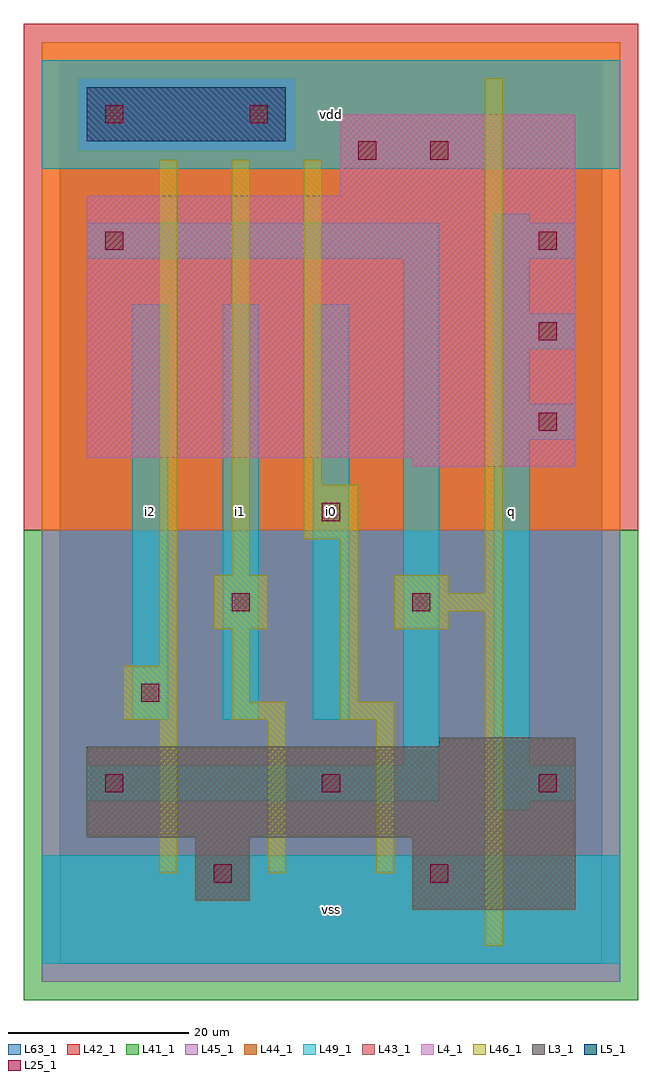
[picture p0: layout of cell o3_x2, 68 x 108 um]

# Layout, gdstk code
import gdstk
lib = gdstk.Library(unit=1e-6, precision=1e-09)
def R(c, l, rs):  # rectangles x0, y0, x1, y1
    for r in rs: c.add(gdstk.rectangle(r[:2], r[2:], *l))
def A(c, l, x, y, w, h, nx, ny, dx, dy):  # array of equal rectangles
    R(c, l, [(x+i*dx, y+j*dy, x+i*dx+w, y+j*dy+h) for i in range(nx) for j in range(ny)])
L3_1 = (3, 1)
L4_1 = (4, 1)
L5_1 = (5, 1)
L25_1 = (25, 1)
L41_1 = (41, 1)
L42_1 = (42, 1)
L43_1 = (43, 1)
L44_1 = (44, 1)
L45_1 = (45, 1)
L46_1 = (46, 1)
L49_1 = (49, 1)
L63_1 = (63, 1)

o3_x2 = lib.new_cell('o3_x2')
R(o3_x2, L3_1, [(39,6,57,14), (15,7,21,14), (3,14,57,24), (42,24,57,25)])
R(o3_x2, L4_1, [(39,55,57,56), (3,56,57,85), (31,85,57,94)])
R(o3_x2, L5_1, [(3,91,25,97)])
A(o3_x2, L25_1, 5, 19, 2, 2, 3, 1, 24, 0)
A(o3_x2, L25_1, 53, 59, 2, 2, 1, 3, 0, 10)
R(o3_x2, L25_1, [(17,9,19,11), (41,9,43,11), (9,29,11,31), (19,39,21,41), (39,39,41,41), (29,49,31,51), (5,79,7,81), (33,89,35,91), (41,89,43,91), (5,93,7,95), (21,93,23,95)])
R(o3_x2, L41_1, [(-4,-4,64,48)])
R(o3_x2, L42_1, [(-4,48,64,104)])
R(o3_x2, L43_1, [(39,6,57,14), (15,7,21,14), (3,14,57,24), (42,24,57,25), (39,55,57,56), (3,56,57,85), (31,85,57,94), (3,91,25,97)])
R(o3_x2, L44_1, [(-2,48,62,90), (-2,90,2,98), (26,90,62,98), (-2,98,62,102)])
R(o3_x2, L45_1, [(-2,-2,62,48), (2,90,26,98)])
A(o3_x2, L46_1, 11, 10, 2, 17, 3, 1, 12, 0)
R(o3_x2, L46_1, [(47,2,49,39), (7,27,13,33), (19,27,25,29), (31,27,37,29), (19,29,21,37), (31,29,33,47), (11,33,13,89), (17,37,23,43), (37,37,43,39), (37,39,49,41), (37,41,43,43), (47,41,49,98), (19,43,21,89), (27,47,33,53), (27,53,29,89)])
A(o3_x2, L49_1, 8, 27, 4, 46, 3, 1, 10, 0)
A(o3_x2, L49_1, 48, 58, 9, 4, 1, 3, 0, 10)
R(o3_x2, L49_1, [(-2,0,62,12), (48,17,52,18), (3,18,42,22), (48,18,57,22), (38,22,42,78), (48,22,52,58), (48,62,52,68), (48,72,52,78), (3,78,42,82), (48,82,52,83), (-2,88,62,100)])
R(o3_x2, L63_1, [(0,0,60,100)])
o3_x2.add(gdstk.Label('i2', (10,50), layer=49, texttype=1))
o3_x2.add(gdstk.Label('i1', (20,50), layer=49, texttype=1))
o3_x2.add(gdstk.Label('vss', (30,6), layer=49, texttype=1))
o3_x2.add(gdstk.Label('i0', (30,50), layer=49, texttype=1))
o3_x2.add(gdstk.Label('vdd', (30,94), layer=49, texttype=1))
o3_x2.add(gdstk.Label('q', (50,50), layer=49, texttype=1))

lib.write_gds('o3_x2.gds')
